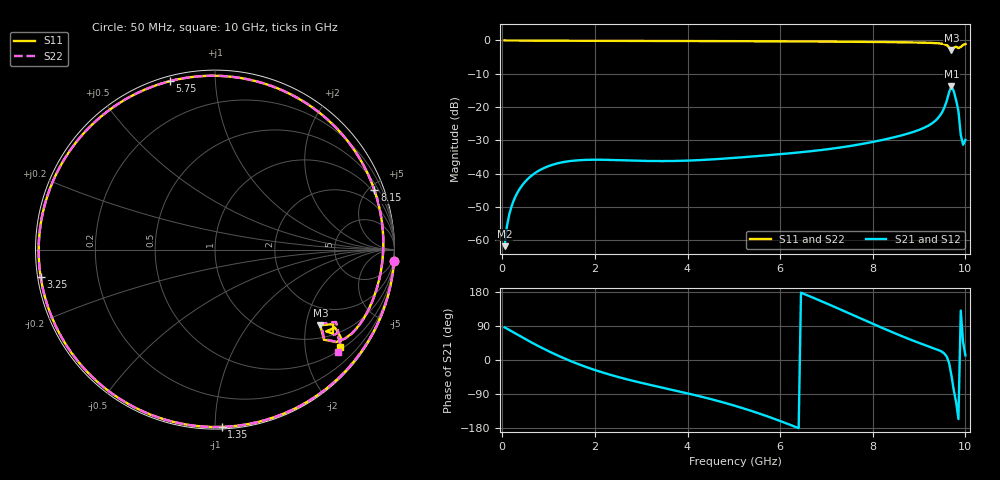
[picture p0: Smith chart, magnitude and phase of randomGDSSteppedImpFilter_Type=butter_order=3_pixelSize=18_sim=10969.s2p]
! freq	dB(S11)	phase(S11)	dB(S12)	phase(S12)
!  dB(S21)	phase(S21)	dB(S22)	phase(S22)
!S-par simulation data
#  GHz  S  DB  R 50
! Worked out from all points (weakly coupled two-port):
!   200 points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, 50 MHz to 10 GHz, reference 50 ohm
!   highest |S21| = -13.76 dB at 9.7 GHz (marker M1); lowest = -61.7 dB at 50 MHz (marker M2)
!   lowest |S11| = -2.8 dB at 9.7 GHz (marker M3), VSWR 6.20, Z = 68.7 - j121 ohm
!   |S11| at or under -10 dB: nowhere
!   |S22| runs from -2.8 to 0.0 dB; largest |S21 - S12| = 0
!   S11 on the Smith chart (normalised r, x): 50 MHz: 0, -32; 1.35 GHz: 0.01, -1.04; 3.25 GHz: 0.01, -0.08; 5.75 GHz: 0.02, +0.77; 8.15 GHz: 0.84, +5.43; 10 GHz: 0.58, -2.79
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0.05  -0.00 -3.6  -61.70 86.2  -61.70 86.2  -0.00 -3.6
0.15  -0.01 -10.7  -52.22 79.2  -52.22 79.2  -0.01 -10.7
0.4  -0.04 -28.2  -44.01 61.7  -44.01 61.7  -0.04 -28.2
0.9  -0.07 -61.3  -38.26 29.2  -38.26 29.2  -0.07 -61.3
1.35  -0.10 -87.9  -36.41 3.6  -36.41 3.6  -0.10 -87.9
1.75  -0.11 -108.8  -35.85 -15.8  -35.85 -15.8  -0.11 -108.8
2.5  -0.13 -142.5  -35.90 -44.8  -35.90 -44.8  -0.13 -142.6
3.25  -0.15 -171.2  -36.17 -67.3  -36.17 -67.3  -0.15 -171.3
3.4  -0.15 -176.6  -36.18 -71.4  -36.18 -71.4  -0.15 -176.6
4.2  -0.18 156.2  -35.93 -93.8  -35.93 -93.8  -0.18 156.1
5.05  -0.21 128.2  -35.18 -121.8  -35.18 -121.8  -0.21 128.1
5.75  -0.25 105.0  -34.41 -149.8  -34.41 -149.8  -0.25 104.9
6.7  -0.31 72.4  -33.16 165.0  -33.16 165.0  -0.31 72.3
8.15  -0.47 20.4  -30.01 87.6  -30.01 87.6  -0.47 20.2
8.35  -0.50 13.1  -29.40 77.1  -29.40 77.1  -0.50 12.9
9.35  -0.79 -24.8  -24.10 29.6  -24.10 29.6  -0.79 -24.8
9.6  -1.43 -37.4  -18.00 8.2  -18.00 8.2  -1.42 -37.2
9.7  -2.83 -35.7  -13.76 -42.1  -13.76 -42.1  -2.84 -34.9
9.85  -2.28 -36.3  -21.21 -155.8  -21.21 -155.8  -1.77 -35.7
9.9  -1.96 -33.0  -28.34 130.4  -28.34 130.4  -1.56 -35.0
9.95  -1.35 -34.9  -31.29 47.4  -31.29 47.4  -1.19 -37.0
10  -1.10 -38.0  -29.83 12.1  -29.83 12.1  -1.03 -39.8
